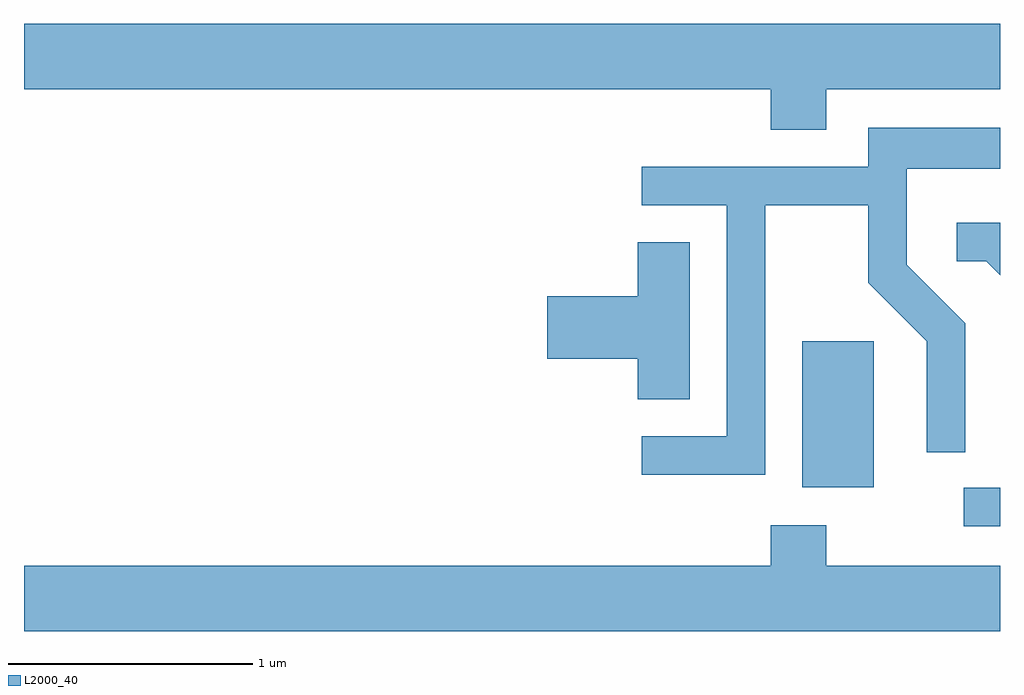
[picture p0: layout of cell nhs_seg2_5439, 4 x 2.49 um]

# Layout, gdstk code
import gdstk
lib = gdstk.Library(unit=1e-6, precision=1e-09)
def R(c, l, rs):  # rectangles x0, y0, x1, y1
    for r in rs: c.add(gdstk.rectangle(r[:2], r[2:], *l))
def P(c, l, *ps):  # polygons
    for p in ps: c.add(gdstk.Polygon(p, *l))
L2000_40 = (2000, 40)

nhs_seg2_5439 = lib.new_cell('nhs_seg2_5439')
R(nhs_seg2_5439, L2000_40, [(349.463,1037.646,349.611,1037.804), (348.801,1037.806,349.094,1038.404)])
P(nhs_seg2_5439, L2000_40, [(348.899,1039.436),(349.611,1039.436),(349.611,1039.704),(345.611,1039.704),(345.611,1039.436),(348.671,1039.436),(348.671,1039.271),(348.899,1039.271)],
  [(348.649,1038.961),(349.071,1038.961),(349.071,1038.644),(349.311,1038.404),(349.311,1037.948),(349.469,1037.948),(349.469,1038.477),(349.229,1038.717),(349.229,1039.111),(349.611,1039.111),(349.611,1039.279),(349.071,1039.279),(349.071,1039.119),(348.143,1039.119),(348.143,1038.961),(348.491,1038.961),(348.491,1038.014),(348.143,1038.014),(348.143,1037.856),(348.649,1037.856)],
  [(349.611,1038.889),(349.433,1038.889),(349.433,1038.731),(349.554,1038.731),(349.611,1038.674)],
  [(348.339,1038.809),(348.126,1038.809),(348.126,1038.589),(347.756,1038.589),(347.756,1038.331),(348.126,1038.331),(348.126,1038.166),(348.339,1038.166)],
  [(349.611,1037.484),(348.899,1037.484),(348.899,1037.649),(348.671,1037.649),(348.671,1037.484),(345.611,1037.484),(345.611,1037.216),(349.611,1037.216)])

lib.write_gds('nhs_seg2_5439.gds')
